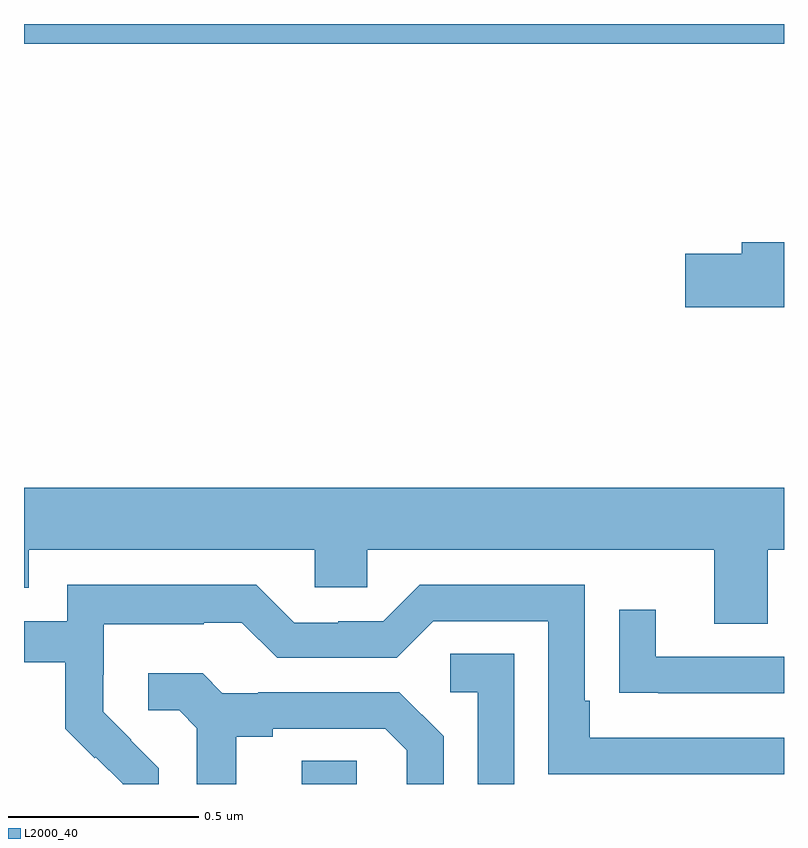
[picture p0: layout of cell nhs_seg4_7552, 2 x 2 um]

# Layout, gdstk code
import gdstk
lib = gdstk.Library(unit=1e-6, precision=1e-09)
def R(c, l, rs):  # rectangles x0, y0, x1, y1
    for r in rs: c.add(gdstk.rectangle(r[:2], r[2:], *l))
def P(c, l, *ps):  # polygons
    for p in ps: c.add(gdstk.Polygon(p, *l))
L2000_40 = (2000, 40)

nhs_seg4_7552 = lib.new_cell('nhs_seg4_7552')
R(nhs_seg4_7552, L2000_40, [(204.731,766.9,204.876,766.961), (204,768.848,206,768.9)])
P(nhs_seg4_7552, L2000_40, [(206,768.326),(205.889,768.326),(205.889,768.296),(205.74,768.296),(205.74,768.154),(206,768.154)],
  [(204,767.417),(204.013,767.417),(204.013,767.516),(204.765,767.516),(204.765,767.418),(204.903,767.418),(204.903,767.516),(205.817,767.516),(205.817,767.322),(205.957,767.322),(205.957,767.516),(206,767.516),(206,767.68),(204,767.68)],
  [(204.354,766.942),(204.281,767.015),(204.282,767.016),(204.208,767.09),(204.208,767.187),(204.21,767.187),(204.21,767.321),(204.473,767.321),(204.473,767.325),(204.573,767.325),(204.666,767.232),(204.981,767.232),(205.077,767.328),(205.38,767.328),(205.38,766.926),(206,766.926),(206,767.022),(205.489,767.022),(205.489,767.119),(205.476,767.119),(205.476,767.424),(205.041,767.424),(204.945,767.328),(204.827,767.328),(204.827,767.325),(204.711,767.325),(204.611,767.425),(204.114,767.425),(204.114,767.328),(204,767.328),(204,767.22),(204.109,767.22),(204.109,767.045),(204.186,766.968),(204.189,766.971),(204.26,766.901),(204.26,766.9),(204.354,766.9)],
  [(206,767.235),(205.663,767.235),(205.663,767.359),(205.567,767.359),(205.567,767.14),(205.669,767.14),(205.669,767.139),(206,767.139)],
  [(205.29,767.243),(205.122,767.243),(205.122,767.142),(205.194,767.142),(205.194,766.9),(205.29,766.9)],
  [(204.559,767.024),(204.655,767.024),(204.655,767.046),(204.95,767.046),(205.007,766.989),(205.007,766.9),(205.104,766.9),(205.104,767.026),(204.988,767.142),(204.616,767.142),(204.616,767.139),(204.522,767.139),(204.47,767.191),(204.327,767.191),(204.327,767.094),(204.408,767.094),(204.455,767.047),(204.455,766.9),(204.559,766.9)])

lib.write_gds('nhs_seg4_7552.gds')
